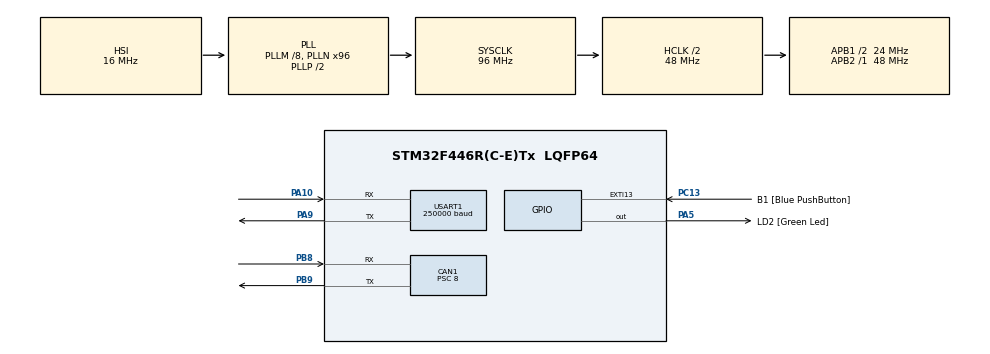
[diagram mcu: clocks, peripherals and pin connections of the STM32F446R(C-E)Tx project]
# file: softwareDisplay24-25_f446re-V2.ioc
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CAN1.ABOM=ENABLE
CAN1.BS1=CAN_BS1_2TQ
CAN1.BS2=CAN_BS2_3TQ
CAN1.CalculateBaudRate=500000
CAN1.CalculateTimeBit=2000
CAN1.CalculateTimeQuantum=333.3333333333333
CAN1.Prescaler=8
Dma.Request0=USART1_TX
Dma.USART1_TX.0.Direction=DMA_MEMORY_TO_PERIPH
Dma.USART1_TX.0.FIFOMode=DMA_FIFOMODE_DISABLE
Dma.USART1_TX.0.Instance=DMA2_Stream7
Dma.USART1_TX.0.MemDataAlignment=DMA_MDATAALIGN_BYTE
Dma.USART1_TX.0.MemInc=DMA_MINC_ENABLE
Dma.USART1_TX.0.Mode=DMA_NORMAL
Dma.USART1_TX.0.PeriphDataAlignment=DMA_PDATAALIGN_BYTE
Dma.USART1_TX.0.PeriphInc=DMA_PINC_DISABLE
Dma.USART1_TX.0.Priority=DMA_PRIORITY_LOW
Mcu.Family=STM32F4
Mcu.Name=STM32F446R(C-E)Tx
Mcu.Package=LQFP64
NVIC.CAN1_RX0_IRQn=true\:0\:0\:false\:false\:true\:true\:true\:true
NVIC.CAN1_RX1_IRQn=true\:0\:0\:false\:false\:true\:true\:true\:true
NVIC.CAN1_TX_IRQn=true\:0\:0\:false\:false\:true\:true\:true\:true
NVIC.DMA2_Stream7_IRQn=true\:0\:0\:false\:false\:true\:false\:true\:true
NVIC.PriorityGroup=NVIC_PRIORITYGROUP_0
NVIC.TIM2_IRQn=true\:0\:0\:false\:false\:true\:true\:true\:true
NVIC.TIM3_IRQn=true\:0\:0\:false\:false\:true\:true\:true\:true
NVIC.USART1_IRQn=true\:0\:0\:false\:false\:true\:true\:true\:true
PA10.Mode=Asynchronous
PA10.Signal=USART1_RX
PA13.GPIO_Label=TMS
PA13.Mode=Serial_Wire
PA13.Signal=SYS_JTMS-SWDIO
PA14.GPIO_Label=TCK
PA14.Mode=Serial_Wire
PA14.Signal=SYS_JTCK-SWCLK
PA2.GPIO_Label=USART_TX
PA2.Signal=USART2_TX
PA3.GPIO_Label=USART_RX
PA3.Signal=USART2_RX
PA5.GPIO_Label=LD2 [Green Led]
PA5.Signal=GPIO_Output
PA9.Mode=Asynchronous
PA9.Signal=USART1_TX
PB3.GPIO_Label=SWO
PB3.Signal=SYS_JTDO-SWO
PB8.Mode=CAN_Activate
PB8.Signal=CAN1_RX
PB9.Mode=CAN_Activate
PB9.Signal=CAN1_TX
PC13.GPIO_Label=B1 [Blue PushButton]
PC13.GPIO_ModeDefaultEXTI=GPIO_MODE_IT_FALLING
PC13.Signal=GPXTI13
PC14-OSC32_IN.Mode=LSE-External-Oscillator
PC14-OSC32_IN.Signal=RCC_OSC32_IN
PC15-OSC32_OUT.Mode=LSE-External-Oscillator
PC15-OSC32_OUT.Signal=RCC_OSC32_OUT
PH0-OSC_IN.Mode=HSE-External-Oscillator
PH0-OSC_IN.Signal=RCC_OSC_IN
PH1-OSC_OUT.Mode=HSE-External-Oscillator
PH1-OSC_OUT.Signal=RCC_OSC_OUT
ProjectManager.HeapSize=0x200
ProjectManager.StackSize=0x400
ProjectManager.TargetToolchain=STM32CubeIDE
RCC.48MHZClocksFreq_Value=84000000
RCC.AHBCLKDivider=RCC_SYSCLK_DIV2
RCC.AHBFreq_Value=48000000
RCC.APB1CLKDivider=RCC_HCLK_DIV2
RCC.APB1Freq_Value=24000000
RCC.APB1TimFreq_Value=48000000
RCC.APB2Freq_Value=48000000
RCC.APB2TimFreq_Value=48000000
RCC.CortexFreq_Value=48000000
RCC.FLatency-AdvancedSettings=FLASH_LATENCY_1
RCC.HCLKFreq_Value=48000000
RCC.HSE_VALUE=8000000
RCC.HSI_VALUE=16000000
RCC.PLLM=8
RCC.PLLN=96
RCC.SYSCLKFreq_VALUE=96000000
RCC.SYSCLKSource=RCC_SYSCLKSOURCE_PLLCLK
RCC.USBFreq_Value=96000000
RCC.VCOOutputFreq_Value=192000000
TIM2.AutoReloadPreload=TIM_AUTORELOAD_PRELOAD_ENABLE
TIM2.Period=24999
TIM2.Prescaler=4799
TIM3.AutoReloadPreload=TIM_AUTORELOAD_PRELOAD_ENABLE
TIM3.Period=17999
USART1.BaudRate=250000
USART1.VirtualMode=VM_ASYNC
VP_TIM2_VS_ClockSourceINT.Mode=Internal
VP_TIM3_VS_ClockSourceINT.Mode=Internal
board=NUCLEO-F446RE

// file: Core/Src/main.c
/* USER CODE BEGIN Header */
/**
  ******************************************************************************
  * @file           : main.c
  * @brief          : Main program body
  ******************************************************************************
  * @attention
  *
  * Copyright (c) 2025 STMicroelectronics.
  * All rights reserved.
  *
  * This software is licensed under terms that can be found in the LICENSE file
  * in the root directory of this software component.
  * If no LICENSE file comes with this software, it is provided AS-IS.
  *
  ******************************************************************************
  */
/* USER CODE END Header */
#include "main.h"
#include "can.h"
#include "dma.h"
#include "tim.h"
#include "usart.h"
#include "gpio.h"

/* USER CODE BEGIN Includes */
#include <stdarg.h>
#include <stdbool.h>
#include <string.h>

/* USER CODE END Includes */

/* USER CODE BEGIN PV */
volatile uint8_t flagErroreInCorso = 0;
uint16_t ultimoErroreRicevuto = 0;
uint8_t errorValue = 0;
/* USER CODE END PV */

void SystemClock_Config(void);

/* USER CODE BEGIN 0 */
#define MAX_COMMANDS 30
#define MAX_COMMAND_LEN 80

#define COLOR_RED    63488
#define COLOR_GREEN  1856

DisplayVar vars[NData] = {
    { "SpeedValue",0, 0,1,0},
	{ "valSOC",0, 0,1,0},	//also BatteryValBar	(type1)
	{ "valTempInv",0, 0,1,0},
	{ "valTempEng",0, 0,1,0},
	{ "valTempBat",0, 0,1,0},
	{ "valTempFan",0, 0,1,0},
};

uint16_t freniData = 0;

uint8_t flagOk = 0;
uint8_t cmd_end[3] = {0xFF,0xFF,0xFF};

volatile uint8_t flagStartingOK = 0;
volatile uint8_t flagNewMap=0;
uint16_t r2dData = 0;
uint16_t mapData = 1;
CAN_TxHeaderTypeDef r2dTxHeader, mapTxHeader;
CAN_FilterTypeDef can_filter;
CAN_RxHeaderTypeDef RxHeader;
uint8_t RxData[8];
uint32_t TxMailbox;\

typedef struct {
    char buffer[MAX_COMMAND_LEN];
    uint8_t len;
    uint8_t valid;
} Command;

Command commandQueue[MAX_COMMANDS];
volatile uint8_t queueHead = 0;
volatile uint8_t queueTail = 0;
volatile uint8_t uartBusy = 0;

void EnqueueNextionCommand(const char* format, ...) {
    char temp[MAX_COMMAND_LEN - 3];
    va_list args;
    va_start(args, format);
    vsnprintf(temp, sizeof(temp), format, args);
    va_end(args);

    Command cmd;
    memset(&cmd, 0, sizeof(Command));	//reset
    cmd.len = strlen(temp) + 3;
    memcpy(cmd.buffer, temp, strlen(temp));
    cmd.buffer[cmd.len - 3] = 0xFF;
    cmd.buffer[cmd.len - 2] = 0xFF;
    cmd.buffer[cmd.len - 1] = 0xFF;

    EnqueueCommandRaw(&cmd);
}

void EnqueueCommandRaw(Command* cmd) {
    uint8_t nextTail = (queueTail + 1) % MAX_COMMANDS;
    if (nextTail == queueHead) return; // Queue full

    commandQueue[queueTail] = *cmd;
    queueTail = nextTail;

    TrySendNextCommand();
}

void TrySendNextCommand() {
    if (uartBusy || queueHead == queueTail) return;

    uartBusy = 1;
    HAL_UART_Transmit_DMA(&huart1, (uint8_t*)commandQueue[queueHead].buffer, commandQueue[queueHead].len);
}

void HAL_UART_TxCpltCallback(UART_HandleTypeDef *huart) {
    if (huart->Instance == USART1) {
        queueHead = (queueHead + 1) % MAX_COMMANDS;
        uartBusy = 0;
        TrySendNextCommand();  // Avvia il prossimo comando
    }
}

/*
void SetSpeedValue(int value) {
    char temp[64];
    snprintf(temp, sizeof(temp), "SpeedValue.txt=\"%d\"", value);		//per evitare overflow

    // Cerca se l'ultimo comando nella coda è un comando SpeedValue
    uint8_t i = queueTail == 0 ? MAX_COMMANDS - 1 : queueTail - 1;
    if (strstr(commandQueue[i].buffer, "SpeedValue.txt")) {
        snprintf(commandQueue[i].buffer, MAX_COMMAND_LEN - 3, "%s", temp);
        commandQueue[i].len = strlen(temp) + 3;
        commandQueue[i].buffer[commandQueue[i].len - 3] = 0xFF;
        commandQueue[i].buffer[commandQueue[i].len - 2] = 0xFF;
        commandQueue[i].buffer[commandQueue[i].len - 1] = 0xFF;
    } else {
        EnqueueNextionCommand("SpeedValue.txt=\"%d\"", value);
    }
}

*/

void SetDisplayVar(uint8_t index, int value) {
    if (index >= sizeof(vars)/sizeof(vars[0])) return;
    if(index == 0 || index == 6){
        EnqueueNextionCommand("%s.txt=\"%d\"", vars[index].varName, value);
    } else{
        EnqueueNextionCommand("%s.val=%d", vars[index].varName, value);
    }
}

/* USER CODE END 0 */

int main(void)
{

  /* MCU Configuration--------------------------------------------------------*/

  /* Reset of all peripherals, Initializes the Flash interface and the Systick. */
  HAL_Init();

  /* Configure the system clock */
  SystemClock_Config();

  /* Initialize all configured peripherals */
  MX_GPIO_Init();
  MX_DMA_Init();
  MX_CAN1_Init();
  MX_USART1_UART_Init();
  MX_TIM2_Init();
  MX_TIM3_Init();
  /* USER CODE BEGIN 2 */
  char msg[60] = " ";
  int len;
  HAL_Delay(100);
  HAL_GPIO_TogglePin(LD2_GPIO_Port,LD2_Pin);
  HAL_Delay(200);
  len = sprintf(msg, "page logoStart");
  HAL_UART_Transmit(&huart1,(uint8_t*)msg,len,HAL_MAX_DELAY);
  HAL_UART_Transmit(&huart1,cmd_end,3,HAL_MAX_DELAY); //invio comandi = esegue
  HAL_Delay(1500);	//delay
  HAL_GPIO_TogglePin(LD2_GPIO_Port,LD2_Pin);

  uint32_t currMillis = HAL_GetTick();
  flagStartingOK = 1;
  len = sprintf(msg, "page main");
  HAL_UART_Transmit(&huart1,(uint8_t*)msg,len,HAL_MAX_DELAY);
  HAL_UART_Transmit(&huart1,cmd_end,3,HAL_MAX_DELAY); //invio comandi = esegue
  len = sprintf(msg, "vis ErrorBar1,0");
  HAL_UART_Transmit(&huart1,(uint8_t*)msg,len,HAL_MAX_DELAY);
  HAL_UART_Transmit(&huart1,cmd_end,3,HAL_MAX_DELAY); //invio comandi = esegue
  len = sprintf(msg, "vis ErrorBar2,0");
  HAL_UART_Transmit(&huart1,(uint8_t*)msg,len,HAL_MAX_DELAY);
  HAL_UART_Transmit(&huart1,cmd_end,3,HAL_MAX_DELAY); //invio comandi = esegue

  //HAL_TIM_Base_Start_IT(&htim6);

  CAN_setup();	//avvia il CAN + filtro
  /* USER CODE END 2 */

  /* Infinite loop */
  /* USER CODE BEGIN WHILE */
  while (1)
  {
	  EnqueueNextionCommand("signal.val=1");  // Altro comando

	  for(uint8_t i = 0;i<NData;i++){
		  if(vars[i].flag == 1){
			  vars[i].flag=0;
			  SetDisplayVar(i, vars[i].currentValue);
			  HAL_Delay(3);
		  }
	  }
    /* USER CODE END WHILE */

  }
}

void SystemClock_Config(void)
{
  RCC_OscInitTypeDef RCC_OscInitStruct = {0};
  RCC_ClkInitTypeDef RCC_ClkInitStruct = {0};

  /** Configure the main internal regulator output voltage
  */
  __HAL_RCC_PWR_CLK_ENABLE();
  __HAL_PWR_VOLTAGESCALING_CONFIG(PWR_REGULATOR_VOLTAGE_SCALE3);

  /** Initializes the RCC Oscillators according to the specified parameters
  * in the RCC_OscInitTypeDef structure.
  */
  RCC_OscInitStruct.OscillatorType = RCC_OSCILLATORTYPE_HSI;
  RCC_OscInitStruct.HSIState = RCC_HSI_ON;
  RCC_OscInitStruct.HSICalibrationValue = RCC_HSICALIBRATION_DEFAULT;
  RCC_OscInitStruct.PLL.PLLState = RCC_PLL_ON;
  RCC_OscInitStruct.PLL.PLLSource = RCC_PLLSOURCE_HSI;
  RCC_OscInitStruct.PLL.PLLM = 8;
  RCC_OscInitStruct.PLL.PLLN = 96;
  RCC_OscInitStruct.PLL.PLLP = RCC_PLLP_DIV2;
  RCC_OscInitStruct.PLL.PLLQ = 2;
  RCC_OscInitStruct.PLL.PLLR = 2;
  if (HAL_RCC_OscConfig(&RCC_OscInitStruct) != HAL_OK)
  {
    Error_Handler();
  }

  /** Initializes the CPU, AHB and APB buses clocks
  */
  RCC_ClkInitStruct.ClockType = RCC_CLOCKTYPE_HCLK|RCC_CLOCKTYPE_SYSCLK
                              |RCC_CLOCKTYPE_PCLK1|RCC_CLOCKTYPE_PCLK2;
  RCC_ClkInitStruct.SYSCLKSource = RCC_SYSCLKSOURCE_PLLCLK;
  RCC_ClkInitStruct.AHBCLKDivider = RCC_SYSCLK_DIV2;
  RCC_ClkInitStruct.APB1CLKDivider = RCC_HCLK_DIV2;
  RCC_ClkInitStruct.APB2CLKDivider = RCC_HCLK_DIV1;

  if (HAL_RCC_ClockConfig(&RCC_ClkInitStruct, FLASH_LATENCY_1) != HAL_OK)
  {
    Error_Handler();
  }
}

/* USER CODE BEGIN 4 */
void showError(int valore){
	/*
	char buff[40] = " ";
	int len;
	len = sprintf(buff,"vis ErrorValue,1",valore);
	buff[len]=0xFF;buff[len+1]=0xFF;buff[len+2]=0xFF;
	HAL_UART_Transmit(&huart1,(uint8_t*)buff,len+3,HAL_MAX_DELAY);
	len = sprintf(buff,"vis t0,1");
	buff[len]=0xFF;buff[len+1]=0xFF;buff[len+2]=0xFF;
	HAL_UART_Transmit(&huart1,(uint8_t*)buff,len+3,HAL_MAX_DELAY);
	len = sprintf(buff,"ErrorValue.txt=\"%d\"",errorValue);
	buff[len]=0xFF;buff[len+1]=0xFF;buff[len+2]=0xFF;
	HAL_UART_Transmit(&huart1,(uint8_t*)buff,len+3,HAL_MAX_DELAY);
	len = sprintf(buff,"vis ErrorBar1,1");
	buff[len]=0xFF;buff[len+1]=0xFF;buff[len+2]=0xFF;
	HAL_UART_Transmit(&huart1,(uint8_t*)buff,len+3,HAL_MAX_DELAY);
	len = sprintf(buff,"vis ErrorBar2,1");
	buff[len]=0xFF;buff[len+1]=0xFF;buff[len+2]=0xFF;
	HAL_UART_Transmit(&huart1,(uint8_t*)buff,len+3,HAL_MAX_DELAY);
*/
	EnqueueNextionCommand("vis t0,1");
	EnqueueNextionCommand("vis ErrorValue,1");
	EnqueueNextionCommand("vis ErrorBar1,1");
	EnqueueNextionCommand("vis ErrorBar2,1");
	EnqueueNextionCommand("ErrorValue.txt=\"%d\"",errorValue);
}

void hideError(){
	/*
	char buff[40] = " ";
	int len;
	len = sprintf(buff,"vis ErrorValue,0");
	buff[len]=0xFF;buff[len+1]=0xFF;buff[len+2]=0xFF;
	HAL_UART_Transmit(&huart1,(uint8_t*)buff,len+3,HAL_MAX_DELAY);
	len = sprintf(buff,"vis t0,1");
	buff[len]=0xFF;buff[len+1]=0xFF;buff[len+2]=0xFF;
	HAL_UART_Transmit(&huart1,(uint8_t*)buff,len+3,HAL_MAX_DELAY);
	len = sprintf(buff,"vis ErrorBar2,0");
	buff[len]=0xFF;buff[len+1]=0xFF;buff[len+2]=0xFF;
	HAL_UART_Transmit(&huart1,(uint8_t*)buff,len+3,HAL_MAX_DELAY);
	len = sprintf(buff,"vis t0,0");
	buff[len]=0xFF;buff[len+1]=0xFF;buff[len+2]=0xFF;
	HAL_UART_Transmit(&huart1,(uint8_t*)buff,len+3,HAL_MAX_DELAY);
	*/
	EnqueueNextionCommand("vis t0,0");
	EnqueueNextionCommand("vis ErrorValue,0");
	EnqueueNextionCommand("vis ErrorBar1,0");
	EnqueueNextionCommand("vis ErrorBar2,0");
}

/* USER CODE END 4 */

void Error_Handler(void)
{
  __disable_irq();
  while (1)
  {
  }
}
